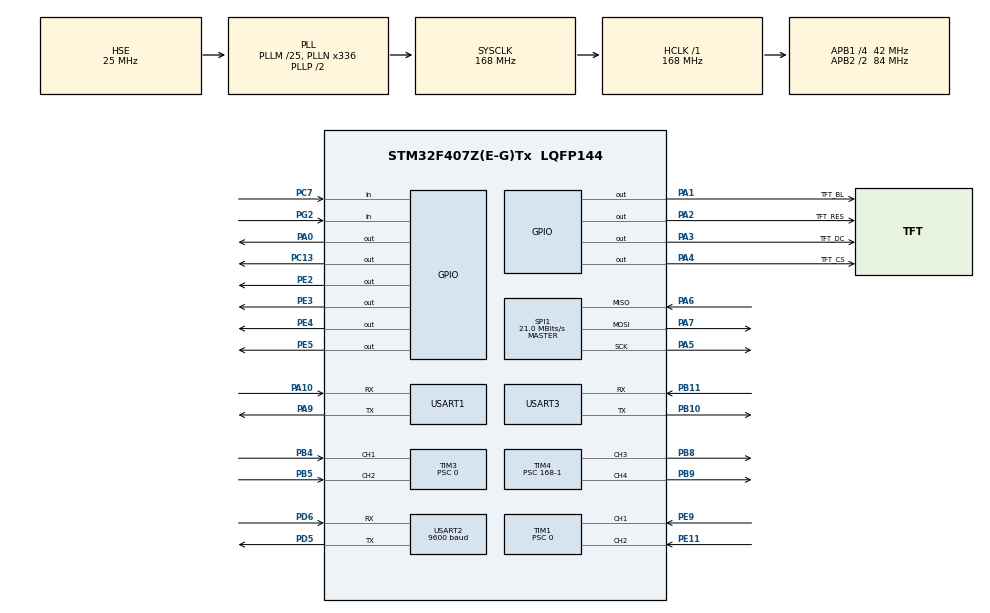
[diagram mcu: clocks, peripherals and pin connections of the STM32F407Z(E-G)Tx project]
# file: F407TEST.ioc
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Mcu.Family=STM32F4
Mcu.Name=STM32F407Z(E-G)Tx
Mcu.Package=LQFP144
NVIC.PriorityGroup=NVIC_PRIORITYGROUP_4
NVIC.TIM1_BRK_TIM9_IRQn=true\:0\:0\:false\:false\:true\:true\:true\:true
NVIC.TIM1_CC_IRQn=true\:0\:0\:false\:false\:true\:true\:true\:true
NVIC.TIM1_TRG_COM_TIM11_IRQn=true\:0\:0\:false\:false\:true\:true\:true\:true
NVIC.TIM1_UP_TIM10_IRQn=true\:0\:0\:false\:false\:true\:true\:true\:true
NVIC.TIM2_IRQn=true\:0\:0\:false\:false\:true\:true\:true\:true
NVIC.TIM3_IRQn=true\:0\:0\:false\:false\:true\:true\:true\:true
NVIC.TIM4_IRQn=true\:0\:0\:false\:false\:true\:true\:true\:true
NVIC.USART2_IRQn=true\:0\:0\:false\:false\:true\:true\:true\:true
PA0-WKUP.Signal=GPIO_Output
PA1.GPIO_Label=TFT_BL
PA1.Signal=GPIO_Output
PA10.Mode=Asynchronous
PA10.Signal=USART1_RX
PA13.Mode=Serial_Wire
PA13.Signal=SYS_JTMS-SWDIO
PA14.Mode=Serial_Wire
PA14.Signal=SYS_JTCK-SWCLK
PA2.GPIO_Label=TFT_RES
PA2.Signal=GPIO_Output
PA3.GPIO_Label=TFT_DC
PA3.Signal=GPIO_Output
PA4.GPIO_Label=TFT_CS
PA4.Signal=GPIO_Output
PA5.Mode=Full_Duplex_Master
PA5.Signal=SPI1_SCK
PA6.Mode=Full_Duplex_Master
PA6.Signal=SPI1_MISO
PA7.Mode=Full_Duplex_Master
PA7.Signal=SPI1_MOSI
PA9.Mode=Asynchronous
PA9.Signal=USART1_TX
PB10.Mode=Asynchronous
PB10.Signal=USART3_TX
PB11.Mode=Asynchronous
PB11.Signal=USART3_RX
PB4.Signal=S_TIM3_CH1
PB5.Signal=S_TIM3_CH2
PB8.Signal=S_TIM4_CH3
PB9.Signal=S_TIM4_CH4
PC13-ANTI_TAMP.PinState=GPIO_PIN_SET
PC13-ANTI_TAMP.Signal=GPIO_Output
PC7.Signal=GPIO_Input
PD5.Mode=Asynchronous
PD5.Signal=USART2_TX
PD6.Mode=Asynchronous
PD6.Signal=USART2_RX
PE11.Signal=S_TIM1_CH2
PE2.Signal=GPIO_Output
PE3.Signal=GPIO_Output
PE4.Signal=GPIO_Output
PE5.Signal=GPIO_Output
PE9.Signal=S_TIM1_CH1
PG2.Signal=GPIO_Input
PH0-OSC_IN.Mode=HSE-External-Oscillator
PH0-OSC_IN.Signal=RCC_OSC_IN
PH1-OSC_OUT.Mode=HSE-External-Oscillator
PH1-OSC_OUT.Signal=RCC_OSC_OUT
ProjectManager.HeapSize=0x200
ProjectManager.StackSize=0x400
ProjectManager.TargetToolchain=MDK-ARM V5.32
RCC.48MHZClocksFreq_Value=84000000
RCC.AHBFreq_Value=168000000
RCC.APB1CLKDivider=RCC_HCLK_DIV4
RCC.APB1Freq_Value=42000000
RCC.APB1TimFreq_Value=84000000
RCC.APB2CLKDivider=RCC_HCLK_DIV2
RCC.APB2Freq_Value=84000000
RCC.APB2TimFreq_Value=168000000
RCC.CortexFreq_Value=168000000
RCC.HCLKFreq_Value=168000000
RCC.HSE_VALUE=25000000
RCC.HSI_VALUE=16000000
RCC.LSE_VALUE=32768
RCC.PLLM=25
RCC.PLLN=336
RCC.PLLSourceVirtual=RCC_PLLSOURCE_HSE
RCC.SYSCLKFreq_VALUE=168000000
RCC.SYSCLKSource=RCC_SYSCLKSOURCE_PLLCLK
RCC.VCOOutputFreq_Value=336000000
SH.S_TIM1_CH1.0=TIM1_CH1,Encoder_Interface
SH.S_TIM1_CH2.0=TIM1_CH2,Encoder_Interface
SH.S_TIM3_CH1.0=TIM3_CH1,Encoder_Interface
SH.S_TIM3_CH2.0=TIM3_CH2,Encoder_Interface
SH.S_TIM4_CH3.0=TIM4_CH3,PWM Generation3 CH3
SH.S_TIM4_CH4.0=TIM4_CH4,PWM Generation4 CH4
SPI1.BaudRatePrescaler=SPI_BAUDRATEPRESCALER_4
SPI1.CalculateBaudRate=21.0 MBits/s
SPI1.Direction=SPI_DIRECTION_2LINES
SPI1.Mode=SPI_MODE_MASTER
SPI1.VirtualType=VM_MASTER
TIM1.EncoderMode=TIM_ENCODERMODE_TI12
TIM1.Prescaler=0
TIM2.Period=10000-1
TIM2.Prescaler=168-1
TIM3.EncoderMode=TIM_ENCODERMODE_TI12
TIM3.Prescaler=0
TIM4.Channel-PWM\ Generation3\ CH3=TIM_CHANNEL_3
TIM4.Channel-PWM\ Generation4\ CH4=TIM_CHANNEL_4
TIM4.Period=1000-1
TIM4.Prescaler=168-1
USART1.VirtualMode=VM_ASYNC
USART2.BaudRate=9600
USART2.VirtualMode=VM_ASYNC
USART3.VirtualMode=VM_ASYNC
VP_TIM2_VS_ClockSourceINT.Mode=Internal
VP_TIM4_VS_ClockSourceINT.Mode=Internal
board=custom

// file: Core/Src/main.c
/* USER CODE BEGIN Header */
/*
 * @Author: yyl
 * @Date: 2024-03-31 23:38:49
 * @LastEditors: yyl
 * @FilePath: \MDK-ARMc:\Users\vanilla\Desktop\F407TEST\Core\Src\main.c
 * @LastEditTime: 2024-04-28 14:52:20
 * @Descripttion:
 * code bless us
 */
/* USER CODE END Header */
#include "main.h"
#include "spi.h"
#include "tim.h"
#include "usart.h"
#include "gpio.h"

/* USER CODE BEGIN Includes */
#include "interrupt.h"
#include "lcd.h"
#include "lcd_init.h"
#include "pic.h"
#include "vofa.h"
#include "stdio.h"
#include "pid.h"
#include "motor.h"
/* USER CODE END Includes */

/* USER CODE BEGIN PTD */
// 函数声明
void uart_rx(void);
void lcd_disp(void);
// 内部变量定义
char text[20];
// 外部变量引用
extern int speed_reality;
extern int speed_out;

extern char rxdatas[30];
extern uint8_t rxdata;
extern char rx_pointer;

extern MOTOR motor;
/* USER CODE END PTD */

void SystemClock_Config(void);

/* USER CODE BEGIN 0 */
int fputc(int ch, FILE *f)

{

  HAL_UART_Transmit(&huart3, (uint8_t *)&ch, 1, 0xffff);

  return ch;
}
/* USER CODE END 0 */

int main(void)
{

  /* MCU Configuration--------------------------------------------------------*/

  /* Reset of all peripherals, Initializes the Flash interface and the Systick. */
  HAL_Init();

  /* Configure the system clock */
  SystemClock_Config();

  /* Initialize all configured peripherals */
  MX_GPIO_Init();
  MX_SPI1_Init();
  MX_USART1_UART_Init();
  MX_USART2_UART_Init();
  MX_USART3_UART_Init();
  MX_TIM1_Init();
  MX_TIM3_Init();
  MX_TIM4_Init();
  MX_TIM2_Init();
  /* USER CODE BEGIN 2 */
  // �?启定时器
  HAL_TIM_Base_Start_IT(&htim2); // 10ms 纯定时器 TIM2
  HAL_TIM_Base_Start_IT(&htim1); // 右轮编码�?        TIM1
  HAL_TIM_Base_Start_IT(&htim3); // 左轮编码�?        TIM3
  HAL_TIM_Base_Start_IT(&htim4); // pwm           TIM4
  // �?启pwm通道
  HAL_TIM_PWM_Start(&htim4, TIM_CHANNEL_3);
  HAL_TIM_PWM_Start(&htim4, TIM_CHANNEL_4);
  // LCD初始�?
  LCD_Init();
  LCD_Fill(0, 0, LCD_W, LCD_H, BLACK);
  // 蓝牙初始�?
  HAL_UART_Receive_IT(&huart2, &rxdata, 1);
  // pid初始�?
  PID_Init();
  Set_Pid(30, 80, 0);
  /* USER CODE END 2 */

  /* Infinite loop */
  /* USER CODE BEGIN WHILE */
  while (1)
  {
    vodka_JustFloat_send(&huart3);

    lcd_disp();
    uart_rx();
    motor_stop();
    /* USER CODE END WHILE */

  }
}

void SystemClock_Config(void)
{
  RCC_OscInitTypeDef RCC_OscInitStruct = {0};
  RCC_ClkInitTypeDef RCC_ClkInitStruct = {0};

  /** Configure the main internal regulator output voltage
  */
  __HAL_RCC_PWR_CLK_ENABLE();
  __HAL_PWR_VOLTAGESCALING_CONFIG(PWR_REGULATOR_VOLTAGE_SCALE1);

  /** Initializes the RCC Oscillators according to the specified parameters
  * in the RCC_OscInitTypeDef structure.
  */
  RCC_OscInitStruct.OscillatorType = RCC_OSCILLATORTYPE_HSE;
  RCC_OscInitStruct.HSEState = RCC_HSE_ON;
  RCC_OscInitStruct.PLL.PLLState = RCC_PLL_ON;
  RCC_OscInitStruct.PLL.PLLSource = RCC_PLLSOURCE_HSE;
  RCC_OscInitStruct.PLL.PLLM = 25;
  RCC_OscInitStruct.PLL.PLLN = 336;
  RCC_OscInitStruct.PLL.PLLP = RCC_PLLP_DIV2;
  RCC_OscInitStruct.PLL.PLLQ = 4;
  if (HAL_RCC_OscConfig(&RCC_OscInitStruct) != HAL_OK)
  {
    Error_Handler();
  }

  /** Initializes the CPU, AHB and APB buses clocks
  */
  RCC_ClkInitStruct.ClockType = RCC_CLOCKTYPE_HCLK|RCC_CLOCKTYPE_SYSCLK
                              |RCC_CLOCKTYPE_PCLK1|RCC_CLOCKTYPE_PCLK2;
  RCC_ClkInitStruct.SYSCLKSource = RCC_SYSCLKSOURCE_PLLCLK;
  RCC_ClkInitStruct.AHBCLKDivider = RCC_SYSCLK_DIV1;
  RCC_ClkInitStruct.APB1CLKDivider = RCC_HCLK_DIV4;
  RCC_ClkInitStruct.APB2CLKDivider = RCC_HCLK_DIV2;

  if (HAL_RCC_ClockConfig(&RCC_ClkInitStruct, FLASH_LATENCY_5) != HAL_OK)
  {
    Error_Handler();
  }
}

/* USER CODE BEGIN 4 */
void lcd_disp()
{
  sprintf(text, "speed:%d   ", speed_reality);
  LCD_ShowString(0, 0, (uint8_t *)text, WHITE, BLACK, 16, 0);
  sprintf(text, "speed_out:%d   ", speed_out);
  LCD_ShowString(0, 16, (uint8_t *)text, WHITE, BLACK, 16, 0);
  sprintf(text, "stop:%d   ", motor.flag_stop);
  LCD_ShowString(0, 32, (uint8_t *)text, WHITE, BLACK, 16, 0);
  // sprintf(text, "flag_stop:%d   ", flag_stop);
  // LCD_ShowString(0, 0, (uint8_t *)text, WHITE, BLACK, 16, 0);
  // sprintf(text, "rxpointer:%d   ", rx_pointer);
  // LCD_ShowString(0, 16, (uint8_t *)text, WHITE, BLACK, 16, 0);
  // sprintf(text, "rxdata:%d   ", rxdatas[0]);
  // LCD_ShowString(0, 32, (uint8_t *)text, WHITE, BLACK, 16, 0);
  // LCD_ShowChinese(0, 0, "中景园电�?", RED, WHITE, 24, 0);
  // LCD_ShowString(24, 30, "LCD_W:", RED, WHITE, 16, 0);
  // LCD_ShowIntNum(72, 30, LCD_W, 3, RED, WHITE, 16);
  // LCD_ShowString(24, 50, "LCD_H:", RED, WHITE, 16, 0);
  // LCD_ShowIntNum(72, 50, LCD_H, 3, RED, WHITE, 16);
  // LCD_ShowFloatNum1(20, 80, t, 4, RED, WHITE, 16);
  // t += 0.11;
  // LCD_ShowPicture(0, 0, 128, 160, gImage_cat);
}
void uart_rx()
{
  if (rx_pointer == 3)
  {
    if (rxdatas[0] == 1 && rxdatas[1] == 2)
    {
      if (rxdatas[2] == 0)
      {
        motor.flag_stop = 1; // stop
      }
      if (rxdatas[2] == 1)
      {
        motor.flag_stop = 0; // run
      }
      rx_pointer = 0;
      memset(rxdatas, 0, 30);
    }
    else
    {
      rx_pointer = 0;
      memset(rxdatas, 0, 30);
    }
  }
  else
  {

    rx_pointer = 0;
    memset(rxdatas, 0, 30);
  }
}

/* USER CODE END 4 */

void Error_Handler(void)
{
  __disable_irq();
  while (1)
  {
  }
}
